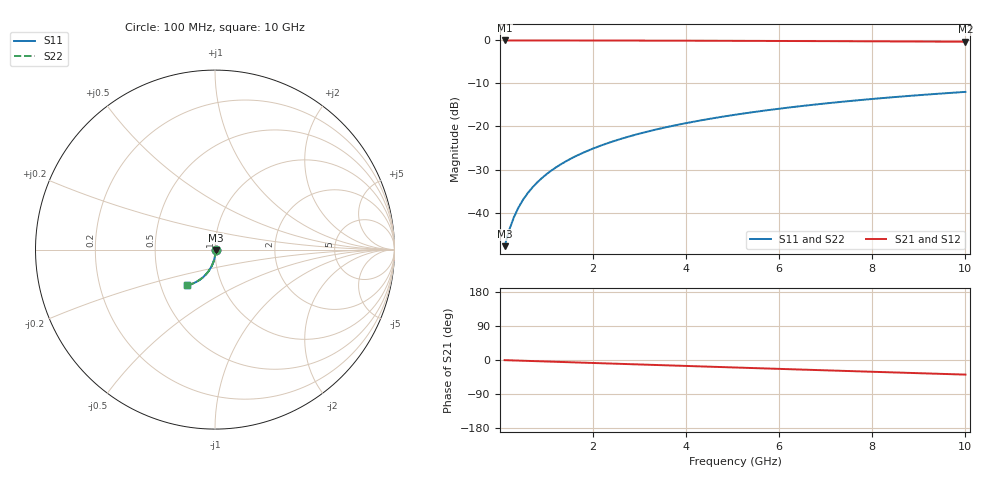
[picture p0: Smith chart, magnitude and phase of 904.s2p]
# Hz S RI R 50.00
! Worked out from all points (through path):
!   100 points, 100 MHz to 10 GHz, reference 50 ohm
!   highest |S21| = -0.03 dB at 100 MHz (marker M1); lowest = -0.3 dB at 10 GHz (marker M2)
!   group delay of S21, straight-line fit = 10.7 ps
!   lowest |S11| = -47.8 dB at 100 MHz (marker M3), VSWR 1.01, Z = 50.3 - j0.282 ohm
!   |S11| at or under -10 dB: start of sweep to end of sweep
!   |S22| runs from -47.8 to -12.0 dB; largest |S21 - S12| = 0
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1e8  0.00297 -0.0028  0.997 -0.00685  0.997 -0.00685  0.00297 -0.0028
2e8  0.00293 -0.0056  0.9969 -0.0137  0.9969 -0.0137  0.00293 -0.0056
3e8  0.00284 -0.0084  0.9967 -0.0205  0.9967 -0.0205  0.00284 -0.0084
4e8  0.00272 -0.0112  0.9965 -0.0274  0.9965 -0.0274  0.00272 -0.0112
5e8  0.00255 -0.014  0.9962 -0.0342  0.9962 -0.0342  0.00255 -0.014
6e8  0.00234 -0.0168  0.9959 -0.0411  0.9959 -0.0411  0.00234 -0.0168
7e8  0.0021 -0.0196  0.9956 -0.0479  0.9956 -0.0479  0.0021 -0.0196
9e8  0.00149 -0.0251  0.9947 -0.0616  0.9947 -0.0616  0.00149 -0.0251
1e9  0.00113 -0.0279  0.9941 -0.0684  0.9941 -0.0684  0.00113 -0.0279
1.2e9  0.000297 -0.0334  0.9929 -0.082  0.9929 -0.082  0.000297 -0.0334
1.5e9  -0.00124 -0.0417  0.9907 -0.1024  0.9907 -0.1024  -0.00124 -0.0417
1.8e9  -0.00311 -0.0498  0.9879 -0.1227  0.9879 -0.1227  -0.00311 -0.0498
2.1e9  -0.00532 -0.0579  0.9847 -0.1429  0.9847 -0.1429  -0.00532 -0.0579
2.5e9  -0.00877 -0.0685  0.9797 -0.1697  0.9797 -0.1697  -0.00877 -0.0685
2.9e9  -0.0128 -0.0789  0.9739 -0.1962  0.9739 -0.1962  -0.0128 -0.0789
3.4e9  -0.0186 -0.0916  0.9654 -0.229  0.9654 -0.229  -0.0186 -0.0916
4.2e9  -0.0296 -0.1108  0.9493 -0.2806  0.9493 -0.2806  -0.0296 -0.1108
5.1e9  -0.0443 -0.1308  0.9276 -0.3368  0.9276 -0.3368  -0.0443 -0.1308
5.9e9  -0.0592 -0.1469  0.9052 -0.385  0.9052 -0.385  -0.0592 -0.1469
6.7e9  -0.0756 -0.1612  0.8802 -0.4313  0.8802 -0.4313  -0.0756 -0.1612
8.4e9  -0.1146 -0.1851  0.8192 -0.523  0.8192 -0.523  -0.1146 -0.1851
1e10  -0.1547 -0.1991  0.7536 -0.6001  0.7536 -0.6001  -0.1547 -0.1991
